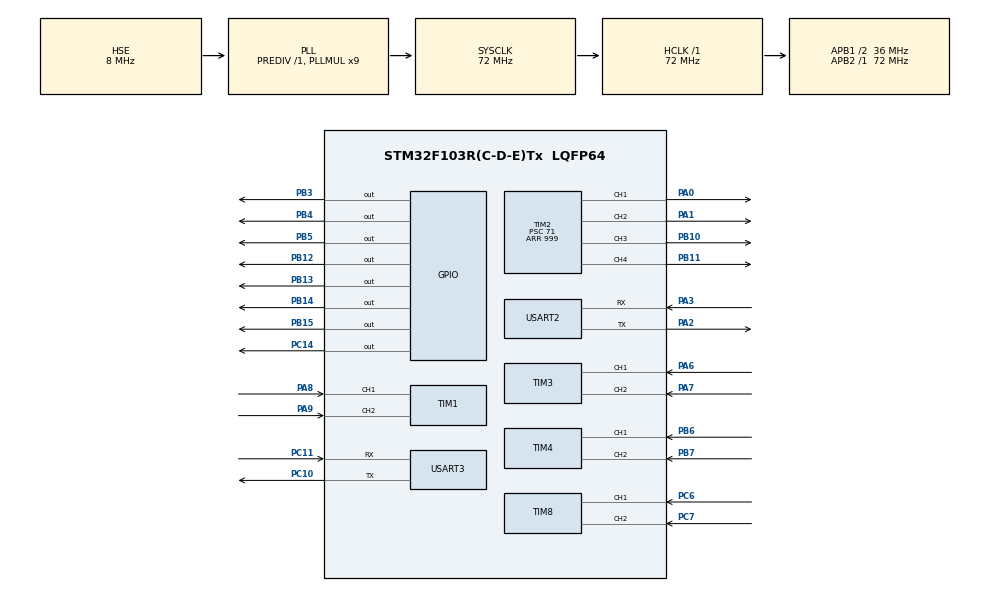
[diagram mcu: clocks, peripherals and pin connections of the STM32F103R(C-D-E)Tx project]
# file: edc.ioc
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Dma.Request0=USART3_RX
Dma.Request1=USART2_RX
Dma.USART2_RX.1.Direction=DMA_PERIPH_TO_MEMORY
Dma.USART2_RX.1.Instance=DMA1_Channel6
Dma.USART2_RX.1.MemDataAlignment=DMA_MDATAALIGN_BYTE
Dma.USART2_RX.1.MemInc=DMA_MINC_ENABLE
Dma.USART2_RX.1.Mode=DMA_NORMAL
Dma.USART2_RX.1.PeriphDataAlignment=DMA_PDATAALIGN_BYTE
Dma.USART2_RX.1.PeriphInc=DMA_PINC_DISABLE
Dma.USART2_RX.1.Priority=DMA_PRIORITY_LOW
Dma.USART3_RX.0.Direction=DMA_PERIPH_TO_MEMORY
Dma.USART3_RX.0.Instance=DMA1_Channel3
Dma.USART3_RX.0.MemDataAlignment=DMA_MDATAALIGN_BYTE
Dma.USART3_RX.0.MemInc=DMA_MINC_ENABLE
Dma.USART3_RX.0.Mode=DMA_CIRCULAR
Dma.USART3_RX.0.PeriphDataAlignment=DMA_PDATAALIGN_BYTE
Dma.USART3_RX.0.PeriphInc=DMA_PINC_DISABLE
Dma.USART3_RX.0.Priority=DMA_PRIORITY_VERY_HIGH
Mcu.Family=STM32F1
Mcu.Name=STM32F103R(C-D-E)Tx
Mcu.Package=LQFP64
NVIC.DMA1_Channel3_IRQn=true\:0\:0\:false\:false\:true\:false\:true
NVIC.DMA1_Channel6_IRQn=true\:0\:0\:false\:false\:true\:false\:true
NVIC.PriorityGroup=NVIC_PRIORITYGROUP_4
NVIC.TIM6_IRQn=true\:0\:0\:false\:false\:true\:true\:true
NVIC.USART2_IRQn=true\:0\:0\:false\:false\:true\:true\:true
NVIC.USART3_IRQn=true\:0\:0\:false\:false\:true\:true\:true
PA0-WKUP.Signal=S_TIM2_CH1_ETR
PA1.Signal=S_TIM2_CH2
PA13.Mode=Serial_Wire
PA13.Signal=SYS_JTMS-SWDIO
PA14.Mode=Serial_Wire
PA14.Signal=SYS_JTCK-SWCLK
PA2.Mode=Asynchronous
PA2.Signal=USART2_TX
PA3.Mode=Asynchronous
PA3.Signal=USART2_RX
PA6.Signal=S_TIM3_CH1
PA7.Signal=S_TIM3_CH2
PA8.Signal=S_TIM1_CH1
PA9.Signal=S_TIM1_CH2
PB10.Signal=S_TIM2_CH3
PB11.Signal=S_TIM2_CH4
PB12.Signal=GPIO_Output
PB13.Signal=GPIO_Output
PB14.Signal=GPIO_Output
PB15.Signal=GPIO_Output
PB3.Signal=GPIO_Output
PB4.Signal=GPIO_Output
PB5.Signal=GPIO_Output
PB6.Signal=S_TIM4_CH1
PB7.Signal=S_TIM4_CH2
PC10.Mode=Asynchronous
PC10.Signal=USART3_TX
PC11.Mode=Asynchronous
PC11.Signal=USART3_RX
PC14-OSC32_IN.Signal=GPIO_Output
PC6.Signal=S_TIM8_CH1
PC7.Signal=S_TIM8_CH2
PD0-OSC_IN.Mode=HSE-External-Oscillator
PD0-OSC_IN.Signal=RCC_OSC_IN
PD1-OSC_OUT.Mode=HSE-External-Oscillator
PD1-OSC_OUT.Signal=RCC_OSC_OUT
ProjectManager.HeapSize=0x200
ProjectManager.StackSize=0x400
ProjectManager.TargetToolchain=Makefile
RCC.AHBFreq_Value=72000000
RCC.APB1CLKDivider=RCC_HCLK_DIV2
RCC.APB1Freq_Value=36000000
RCC.APB1TimFreq_Value=72000000
RCC.APB2Freq_Value=72000000
RCC.APB2TimFreq_Value=72000000
RCC.HCLKFreq_Value=72000000
RCC.PLLMUL=RCC_PLL_MUL9
RCC.PLLSourceVirtual=RCC_PLLSOURCE_HSE
RCC.SYSCLKFreq_VALUE=72000000
RCC.SYSCLKSource=RCC_SYSCLKSOURCE_PLLCLK
RCC.USBFreq_Value=72000000
SH.S_TIM1_CH1.0=TIM1_CH1,Encoder_Interface
SH.S_TIM1_CH2.0=TIM1_CH2,Encoder_Interface
SH.S_TIM2_CH1_ETR.0=TIM2_CH1,PWM Generation1 CH1
SH.S_TIM2_CH2.0=TIM2_CH2,PWM Generation2 CH2
SH.S_TIM2_CH3.0=TIM2_CH3,PWM Generation3 CH3
SH.S_TIM2_CH4.0=TIM2_CH4,PWM Generation4 CH4
SH.S_TIM3_CH1.0=TIM3_CH1,Encoder_Interface
SH.S_TIM3_CH2.0=TIM3_CH2,Encoder_Interface
SH.S_TIM4_CH1.0=TIM4_CH1,Encoder_Interface
SH.S_TIM4_CH2.0=TIM4_CH2,Encoder_Interface
SH.S_TIM8_CH1.0=TIM8_CH1,Encoder_Interface
SH.S_TIM8_CH2.0=TIM8_CH2,Encoder_Interface
TIM1.EncoderMode=TIM_ENCODERMODE_TI12
TIM2.Channel-PWM\ Generation1\ CH1=TIM_CHANNEL_1
TIM2.Channel-PWM\ Generation2\ CH2=TIM_CHANNEL_2
TIM2.Channel-PWM\ Generation3\ CH3=TIM_CHANNEL_3
TIM2.Channel-PWM\ Generation4\ CH4=TIM_CHANNEL_4
TIM2.Period=999
TIM2.Prescaler=71
TIM3.EncoderMode=TIM_ENCODERMODE_TI12
TIM4.EncoderMode=TIM_ENCODERMODE_TI2
TIM6.Period=9999
TIM6.Prescaler=71
TIM8.EncoderMode=TIM_ENCODERMODE_TI12
USART2.VirtualMode=VM_ASYNC
USART3.VirtualMode=VM_ASYNC
VP_TIM2_VS_ClockSourceINT.Mode=Internal
VP_TIM6_VS_ClockSourceINT.Mode=Enable_Timer
board=custom

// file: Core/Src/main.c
/* USER CODE BEGIN Header */
/**
  ******************************************************************************
  * @file           : main.c
  * @brief          : Main program body
  ******************************************************************************
  * @attention
  *
  * <h2><center>&copy; Copyright (c) 2021 STMicroelectronics.
  * All rights reserved.</center></h2>
  *
  * This software component is licensed by ST under BSD 3-Clause license,
  * the "License"; You may not use this file except in compliance with the
  * License. You may obtain a copy of the License at:
  *                        opensource.org/licenses/BSD-3-Clause
  *
  ******************************************************************************
  */
/* USER CODE END Header */
#include "main.h"
#include "dma.h"
#include "tim.h"
#include "usart.h"
#include "gpio.h"

/* USER CODE BEGIN Includes */
#include "jy62.h"
#include "zigbee.h"
/* USER CODE END Includes */

/* USER CODE BEGIN PD */
#define RIGHT 1
#define Left -1
/* USER CODE END PD */

void SystemClock_Config(void);
/* USER CODE BEGIN PFP */
int abs(int x){
  if(x<0)return (0-x);
  return x;
}
float max(float a,float b){
  return a>b?a:b;
}
/* USER CODE END PFP */

int main(void)
{

  /* MCU Configuration--------------------------------------------------------*/

  /* Reset of all peripherals, Initializes the Flash interface and the Systick. */
  HAL_Init();

  /* Configure the system clock */
  SystemClock_Config();

  /* Initialize all configured peripherals */
  MX_GPIO_Init();
  MX_DMA_Init();
  MX_USART3_UART_Init();
  MX_USART2_UART_Init();
  MX_TIM1_Init();
  MX_TIM2_Init();
  MX_TIM3_Init();
  MX_TIM4_Init();
  MX_TIM6_Init();
  MX_TIM8_Init();
  /* USER CODE BEGIN 2 */
  HAL_TIM_Base_Start_IT(&htim6);
  HAL_TIM_PWM_Start(&htim2, TIM_CHANNEL_1);
  HAL_TIM_PWM_Start(&htim2, TIM_CHANNEL_2);
  HAL_TIM_PWM_Start(&htim2, TIM_CHANNEL_3);
  HAL_TIM_PWM_Start(&htim2, TIM_CHANNEL_4);
  HAL_TIM_Encoder_Start(&htim1, TIM_CHANNEL_ALL);
  HAL_TIM_Encoder_Start(&htim3, TIM_CHANNEL_ALL);
  HAL_TIM_Encoder_Start(&htim4, TIM_CHANNEL_ALL);
  HAL_TIM_Encoder_Start(&htim8, TIM_CHANNEL_ALL);

  jy62_Init(&huart3);
  SetBaud(115200);
  SetHorizontal();
  InitAngle();
  Calibrate();

  zigbee_Init(&huart2);
  /* USER CODE END 2 */

  /* Infinite loop */
  while (1)
  {

  }
}

void SystemClock_Config(void)
{
  RCC_OscInitTypeDef RCC_OscInitStruct = {0};
  RCC_ClkInitTypeDef RCC_ClkInitStruct = {0};

  /** Initializes the RCC Oscillators according to the specified parameters
  * in the RCC_OscInitTypeDef structure.
  */
  RCC_OscInitStruct.OscillatorType = RCC_OSCILLATORTYPE_HSE;
  RCC_OscInitStruct.HSEState = RCC_HSE_ON;
  RCC_OscInitStruct.HSEPredivValue = RCC_HSE_PREDIV_DIV1;
  RCC_OscInitStruct.HSIState = RCC_HSI_ON;
  RCC_OscInitStruct.PLL.PLLState = RCC_PLL_ON;
  RCC_OscInitStruct.PLL.PLLSource = RCC_PLLSOURCE_HSE;
  RCC_OscInitStruct.PLL.PLLMUL = RCC_PLL_MUL9;
  if (HAL_RCC_OscConfig(&RCC_OscInitStruct) != HAL_OK)
  {
    Error_Handler();
  }
  /** Initializes the CPU, AHB and APB buses clocks
  */
  RCC_ClkInitStruct.ClockType = RCC_CLOCKTYPE_HCLK|RCC_CLOCKTYPE_SYSCLK
                              |RCC_CLOCKTYPE_PCLK1|RCC_CLOCKTYPE_PCLK2;
  RCC_ClkInitStruct.SYSCLKSource = RCC_SYSCLKSOURCE_PLLCLK;
  RCC_ClkInitStruct.AHBCLKDivider = RCC_SYSCLK_DIV1;
  RCC_ClkInitStruct.APB1CLKDivider = RCC_HCLK_DIV2;
  RCC_ClkInitStruct.APB2CLKDivider = RCC_HCLK_DIV1;

  if (HAL_RCC_ClockConfig(&RCC_ClkInitStruct, FLASH_LATENCY_2) != HAL_OK)
  {
    Error_Handler();
  }
}

/* USER CODE BEGIN 4 */
//0.86 0.013 10
float kp=0.86,ki=0.015,kd=10;
float integral[4]={0},prev[4]={0};
int setspeed=30;
float distance=0;
int delay=11;
float angle;
int pwm1,pwm2,pwm3,pwm4;
//cm/s
float pid(float setspeed,float actualspeed,int num){
  integral[num]+=setspeed-actualspeed;
  float out=actualspeed+kp*(setspeed-actualspeed)+ki*integral[num]+kd*(prev[num]-actualspeed);
  prev[num]=actualspeed;
  if(out>=169)out=169;
  if(out<=0)out=0;
  return out;
}
void rotate(float speed1,float speed2,float speed3,float speed4,int lr){
  float s_speed1=setspeed*(1+lr);
  float s_speed3=setspeed*(1+lr);
  float s_speed2=setspeed*0.1;
  float s_speed4=setspeed*0.1;
  pwm1=(int)(pid(s_speed1,speed1,1)*5.88);
  pwm2=(int)(pid(s_speed2,speed2,2)*5.88);
  pwm3=(int)(pid(s_speed3,speed3,3)*5.88);
  pwm4=(int)(pid(s_speed4,speed4,4)*5.88);
  __HAL_TIM_SET_COMPARE(&htim2, TIM_CHANNEL_1, pwm1);
  __HAL_TIM_SET_COMPARE(&htim2, TIM_CHANNEL_2, pwm2);
  __HAL_TIM_SET_COMPARE(&htim2, TIM_CHANNEL_3, pwm3);
  __HAL_TIM_SET_COMPARE(&htim2, TIM_CHANNEL_4, pwm4);

}
void HAL_TIM_PeriodElapsedCallback(TIM_HandleTypeDef* htim)  //refresh PID value every 10ms
{
    if (htim->Instance == TIM6) {
        HAL_GPIO_WritePin(GPIOB,GPIO_PIN_5,0);
        HAL_GPIO_WritePin(GPIOB,GPIO_PIN_4,1);

        HAL_GPIO_WritePin(GPIOB,GPIO_PIN_3,1);
        HAL_GPIO_WritePin(GPIOC,GPIO_PIN_14,0);

        HAL_GPIO_WritePin(GPIOB,GPIO_PIN_13,0);
        HAL_GPIO_WritePin(GPIOB,GPIO_PIN_12,1);

        HAL_GPIO_WritePin(GPIOB,GPIO_PIN_15,0);
        HAL_GPIO_WritePin(GPIOB,GPIO_PIN_14,1);

        int count1=__HAL_TIM_GetCounter(&htim1);
        int count2=__HAL_TIM_GetCounter(&htim3);
        int count3=__HAL_TIM_GetCounter(&htim4);
        int count4=__HAL_TIM_GetCounter(&htim8);
        __HAL_TIM_SetCounter(&htim1,0);
        __HAL_TIM_SetCounter(&htim3,0);
        __HAL_TIM_SetCounter(&htim4,0);
        __HAL_TIM_SetCounter(&htim8,0);
        float speed1=(float)count1*100/1040*3.1416*6.5;//cm/s
        float speed2=(float)count2*100/1040*3.1416*6.5;
        float speed3=(float)count3*100/1040*3.1416*6.5;
        float speed4=(float)count4*100/1040*3.1416*6.5;
        float avgspeed=(speed1+speed2+speed3+speed4)/4.0;
        distance+=avgspeed*0.0001;
        if(delay==1){
           angle=GetYaw();
           delay=5;
        }else delay--;

       // u1_printf("%d    %d\n",(int)angle,(int)(10*distance));
        if(distance>=0.2){
          rotate(speed1,speed2,speed3,speed4,RIGHT);
          if(49<angle && angle<180){
              __HAL_TIM_SET_COMPARE(&htim2, TIM_CHANNEL_1, 0);
              __HAL_TIM_SET_COMPARE(&htim2, TIM_CHANNEL_2, 0);
              __HAL_TIM_SET_COMPARE(&htim2, TIM_CHANNEL_3, 0);
              __HAL_TIM_SET_COMPARE(&htim2, TIM_CHANNEL_4, 0);
              if(max(max(speed1,speed2),max(speed3,speed4))<10){
                distance=0;
                InitAngle();
                for(int i=0;i<4;i++){
                  integral[i]=0;
                  prev[i]=0;
                }
                goto s;
              }
           }
           return;
        }
       s:
        pwm1=(int)(pid(setspeed,speed1,1)*5.88);
        pwm2=(int)(pid(setspeed,speed2,2)*5.88);
        pwm3=(int)(pid(setspeed,speed3,3)*5.88);
        pwm4=(int)(pid(setspeed,speed4,4)*5.88);
        //300  ---- 43cm/s
        //1000 ---- 170
        //6.2x ---- x
        __HAL_TIM_SET_COMPARE(&htim2, TIM_CHANNEL_1, pwm1);
        __HAL_TIM_SET_COMPARE(&htim2, TIM_CHANNEL_2, pwm2);
        __HAL_TIM_SET_COMPARE(&htim2, TIM_CHANNEL_3, pwm3);
        __HAL_TIM_SET_COMPARE(&htim2, TIM_CHANNEL_4, pwm4);

    }
}
/* USER CODE END 4 */

void Error_Handler(void)
{
  __disable_irq();
  while (1)
  {
  }
}

/************************ (C) COPYRIGHT STMicroelectronics *****END OF FILE****/
